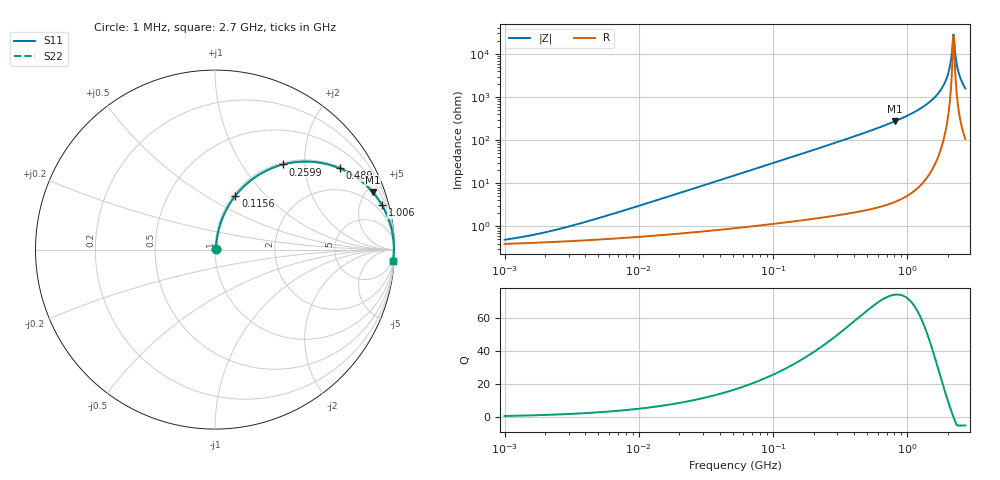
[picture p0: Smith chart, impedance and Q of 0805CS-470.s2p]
# MHz S MA R 50
!Freq  MagS11  AngS11  MagS21  AngS21  MagS12  AngS12  MagS22  AngS22
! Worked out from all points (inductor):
!   801 points, 1 MHz to 2.7 GHz, reference 50 ohm
!   read as one part in series: L = 47 nH near 5.052 MHz
!   highest Q = 74.4 at 801.3 MHz (marker M1), where L = 54.2 nH
!   self-resonance near 2.194 GHz
!   S11 on the Smith chart (normalised r, x): 1 MHz: 1.01, +0.01; 115.6 MHz: 1.02, +0.68; 259.9 MHz: 1.03, +1.56; 489 MHz: 1.05, +3.04; 1.006 GHz: 1.10, +7.50; 2.7 GHz: 3, -32
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1  0.004897 36.7  0.9961 -0.2  0.9961 -0.2  0.004897 36.7
3.756241  0.01199 66.4  0.9953 -0.6  0.9953 -0.6  0.01199 66.4
13.97068  0.04143 79.1  0.993 -2.3  0.993 -2.3  0.04143 79.1
52.47725  0.1521 77.9  0.9795 -8.7  0.9795 -8.7  0.1521 77.9
115.6398  0.3207 69.3  0.9359 -18.7  0.9359 -18.7  0.3207 69.3
195.18  0.4969 58.7  0.8551 -29.8  0.8551 -29.8  0.4969 58.7
259.9096  0.608 51.3  0.7809 -37.4  0.7809 -37.4  0.608 51.3
489.0253  0.8293 33.1  0.5459 -56.0  0.5459 -56.0  0.8293 33.1
725.938  0.9189 22.5  0.3821 -66.8  0.3821 -66.8  0.9189 22.5
801.2934  0.9348 20.0  0.3428 -69.2  0.3428 -69.2  0.9348 20.0
1005.642  0.9629 14.9  0.2567 -74.3  0.2567 -74.3  0.9629 14.9
1420.906  0.9877 7.9  0.1375 -80.9  0.1375 -80.9  0.9877 7.9
1765.745  0.9949 3.9  0.06834 -83.7  0.06834 -83.7  0.9949 3.9
1987.918  0.9965 1.8  0.03175 -82.8  0.03175 -82.8  0.9965 1.8
2068.022  0.9967 1.1  0.01972 -79.9  0.01972 -79.9  0.9967 1.1
2151.355  0.9968 0.4  0.008027 -66.1  0.008027 -66.1  0.9968 0.4
2194.272  0.9967 0.1  0.003513 -21.9  0.003513 -21.9  0.9967 0.1
2260.258  0.9966 -0.4  0.008456 66.1  0.008456 66.1  0.9966 -0.4
2351.337  0.9963 -1.1  0.02017 78.8  0.02017 78.8  0.9963 -1.1
2446.086  0.9958 -1.8  0.03219 81.6  0.03219 81.6  0.9958 -1.8
2595.416  0.9948 -2.9  0.05038 82.6  0.05038 82.6  0.9948 -2.9
2700  0.9938 -3.6  0.06258 82.6  0.06258 82.6  0.9938 -3.6
